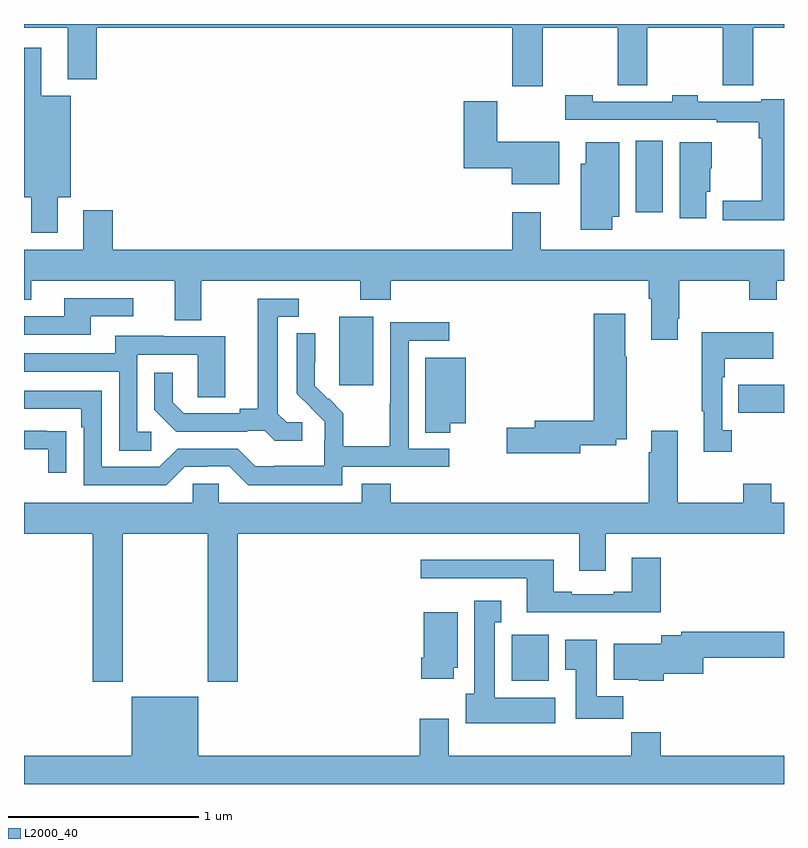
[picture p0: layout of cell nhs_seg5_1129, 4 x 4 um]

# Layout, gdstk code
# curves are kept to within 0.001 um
import gdstk
lib = gdstk.Library(unit=1e-6, precision=1e-09)
def R(c, l, rs):  # rectangles x0, y0, x1, y1
    for r in rs: c.add(gdstk.rectangle(r[:2], r[2:], *l))
def P(c, l, *ps):  # polygons
    for p in ps: c.add(gdstk.Polygon(p, *l))
L2000_40 = (2000, 40)

nhs_seg5_1129 = lib.new_cell('nhs_seg5_1129')
R(nhs_seg5_1129, L2000_40, [(183.566,833.342,183.763,833.584), (184.759,834.754,185,834.901), (182.66,834.897,182.839,835.258), (184.22,835.809,184.363,836.185)])
P(nhs_seg5_1129, L2000_40, [(183.729,836.78),(184.126,836.78),(184.126,836.476),(184.28,836.476),(184.28,836.78),(184.678,836.78),(184.678,836.476),(184.838,836.476),(184.838,836.78),(185,836.78),(185,836.799),(181,836.799),(181,836.78),(181.229,836.78),(181.229,836.507),(181.382,836.507),(181.382,836.78),(183.569,836.78),(183.569,836.472),(183.729,836.472)],
  [(181.177,835.886),(181.246,835.886),(181.246,836.422),(181.09,836.422),(181.09,836.674),(181,836.674),(181,835.886),(181.037,835.886),(181.037,835.701),(181.177,835.701)],
  [(185,836.404),(184.88,836.404),(184.88,836.391),(184.545,836.391),(184.545,836.424),(184.413,836.424),(184.413,836.391),(183.993,836.391),(183.993,836.424),(183.849,836.424),(183.849,836.295),(184.645,836.295),(184.645,836.283),(184.867,836.283),(184.867,836.198),(184.882,836.198),(184.882,835.868),(184.677,835.868),(184.677,835.766),(185,835.766)],
  [(183.817,836.179),(183.492,836.179),(183.492,836.392),(183.314,836.392),(183.314,836.039),(183.566,836.039),(183.566,835.955),(183.817,835.955)],
  [(184.591,835.917),(184.612,835.917),(184.612,836.04),(184.621,836.04),(184.621,836.176),(184.451,836.176),(184.451,835.776),(184.591,835.776)],
  [(184.095,835.784),(184.132,835.784),(184.132,836.176),(183.956,836.176),(183.956,836.064),(183.929,836.064),(183.929,835.716),(184.095,835.716)],
  [(181.793,835.24),(181.933,835.24),(181.933,835.448),(182.77,835.448),(182.77,835.349),(182.93,835.349),(182.93,835.448),(184.289,835.448),(184.289,835.352),(184.301,835.352),(184.301,835.137),(184.441,835.137),(184.441,835.249),(184.449,835.249),(184.449,835.448),(184.816,835.448),(184.816,835.349),(184.962,835.349),(184.962,835.448),(185,835.448),(185,835.612),(183.721,835.612),(183.721,835.807),(183.569,835.807),(183.569,835.612),(181.466,835.612),(181.466,835.819),(181.313,835.819),(181.313,835.612),(181,835.612),(181,835.349),(181.039,835.349),(181.039,835.448),(181.793,835.448)],
  [(181.351,835.26),(181.576,835.26),(181.576,835.356),(181.211,835.356),(181.211,835.26),(181,835.26),(181,835.164),(181.351,835.164)],
  [(182.464,834.702),(182.382,834.702),(182.335,834.749),(182.335,835.257),(182.446,835.257),(182.446,835.353),(182.231,835.353),(182.231,834.773),(182.135,834.773),(182.135,834.75),(181.84,834.75),(181.783,834.807),(181.783,834.964),(181.686,834.964),(181.686,834.77),(181.802,834.654),(182.174,834.654),(182.174,834.657),(182.268,834.657),(182.32,834.605),(182.464,834.605)],
  [(183.928,834.582),(184.116,834.582),(184.116,834.614),(184.173,834.614),(184.173,835.049),(184.165,835.049),(184.165,835.273),(183.998,835.273),(183.998,834.71),(183.689,834.71),(183.689,834.674),(183.54,834.674),(183.54,834.539),(183.928,834.539)],
  [(182.676,834.468),(183.238,834.468),(183.238,834.564),(183.024,834.564),(183.024,835.131),(183.238,835.131),(183.238,835.23),(182.928,835.23),(182.928,834.8),(182.926,834.8),(182.926,834.577),(182.681,834.577),(182.681,834.751),(182.604,834.828),(182.601,834.825),(182.531,834.896),(182.532,835.172),(182.436,835.172),(182.436,834.854),(182.582,834.706),(182.582,834.609),(182.58,834.609),(182.58,834.475),(182.317,834.475),(182.317,834.471),(182.217,834.471),(182.124,834.564),(181.809,834.564),(181.713,834.468),(181.41,834.468),(181.41,834.87),(181,834.87),(181,834.774),(181.301,834.774),(181.301,834.677),(181.314,834.677),(181.314,834.372),(181.749,834.372),(181.845,834.468),(181.964,834.468),(181.964,834.471),(182.079,834.471),(182.179,834.371),(182.676,834.371)],
  [(184.726,834.662),(184.674,834.662),(184.674,834.941),(184.687,834.941),(184.687,835.037),(184.943,835.037),(184.943,835.177),(184.566,835.177),(184.566,834.761),(184.577,834.761),(184.577,834.549),(184.726,834.549)],
  [(181.669,834.654),(181.596,834.654),(181.596,835.059),(181.914,835.059),(181.914,834.835),(182.059,834.835),(182.059,835.155),(181.735,835.155),(181.735,835.159),(181.481,835.159),(181.481,835.065),(181,835.065),(181,834.969),(181.5,834.969),(181.5,834.553),(181.669,834.553)],
  [(183.244,834.698),(183.325,834.698),(183.325,835.042),(183.113,835.042),(183.113,834.649),(183.244,834.649)],
  [(181.887,834.28),(181,834.28),(181,834.116),(181.361,834.116),(181.361,833.337),(181.521,833.337),(181.521,834.116),(181.966,834.116),(181.966,833.337),(182.126,833.337),(182.126,834.116),(183.923,834.116),(183.923,833.922),(184.063,833.922),(184.063,834.116),(185,834.116),(185,834.28),(184.933,834.28),(184.933,834.379),(184.786,834.379),(184.786,834.28),(184.441,834.28),(184.441,834.658),(184.301,834.658),(184.301,834.545),(184.289,834.545),(184.289,834.28),(182.93,834.28),(182.93,834.379),(182.777,834.379),(182.777,834.28),(182.025,834.28),(182.025,834.378),(181.887,834.378)],
  [(181.223,834.656),(181.121,834.656),(181.121,834.657),(181,834.657),(181,834.561),(181.127,834.561),(181.127,834.438),(181.223,834.438)],
  [(184.352,833.989),(184.199,833.989),(184.199,833.812),(184.103,833.812),(184.103,833.799),(183.883,833.799),(183.883,833.812),(183.787,833.812),(183.787,833.98),(183.087,833.98),(183.087,833.883),(183.647,833.883),(183.647,833.702),(184.352,833.702)],
  [(183.796,833.254),(183.478,833.254),(183.478,833.651),(183.511,833.651),(183.511,833.764),(183.371,833.764),(183.371,833.274),(183.326,833.274),(183.326,833.12),(183.796,833.12)],
  [(183.262,833.412),(183.283,833.412),(183.283,833.704),(183.104,833.704),(183.104,833.464),(183.092,833.464),(183.092,833.352),(183.262,833.352)],
  [(184.367,833.378),(184.576,833.378),(184.576,833.464),(185,833.464),(185,833.6),(184.459,833.6),(184.459,833.581),(184.355,833.581),(184.355,833.536),(184.103,833.536),(184.103,833.348),(184.236,833.348),(184.236,833.342),(184.367,833.342)],
  [(184.154,833.26),(184.015,833.26),(184.015,833.557),(183.848,833.557),(183.848,833.401),(183.905,833.401),(183.905,833.142),(184.154,833.142)],
  [(183.235,833.143),(183.083,833.143),(183.083,832.948),(181.918,832.948),(181.918,833.257),(181.568,833.257),(181.568,832.948),(181,832.948),(181,832.799),(185,832.799),(185,832.948),(184.352,832.948),(184.352,833.072),(184.195,833.072),(184.195,832.948),(183.235,832.948)])

lib.write_gds('nhs_seg5_1129.gds')
